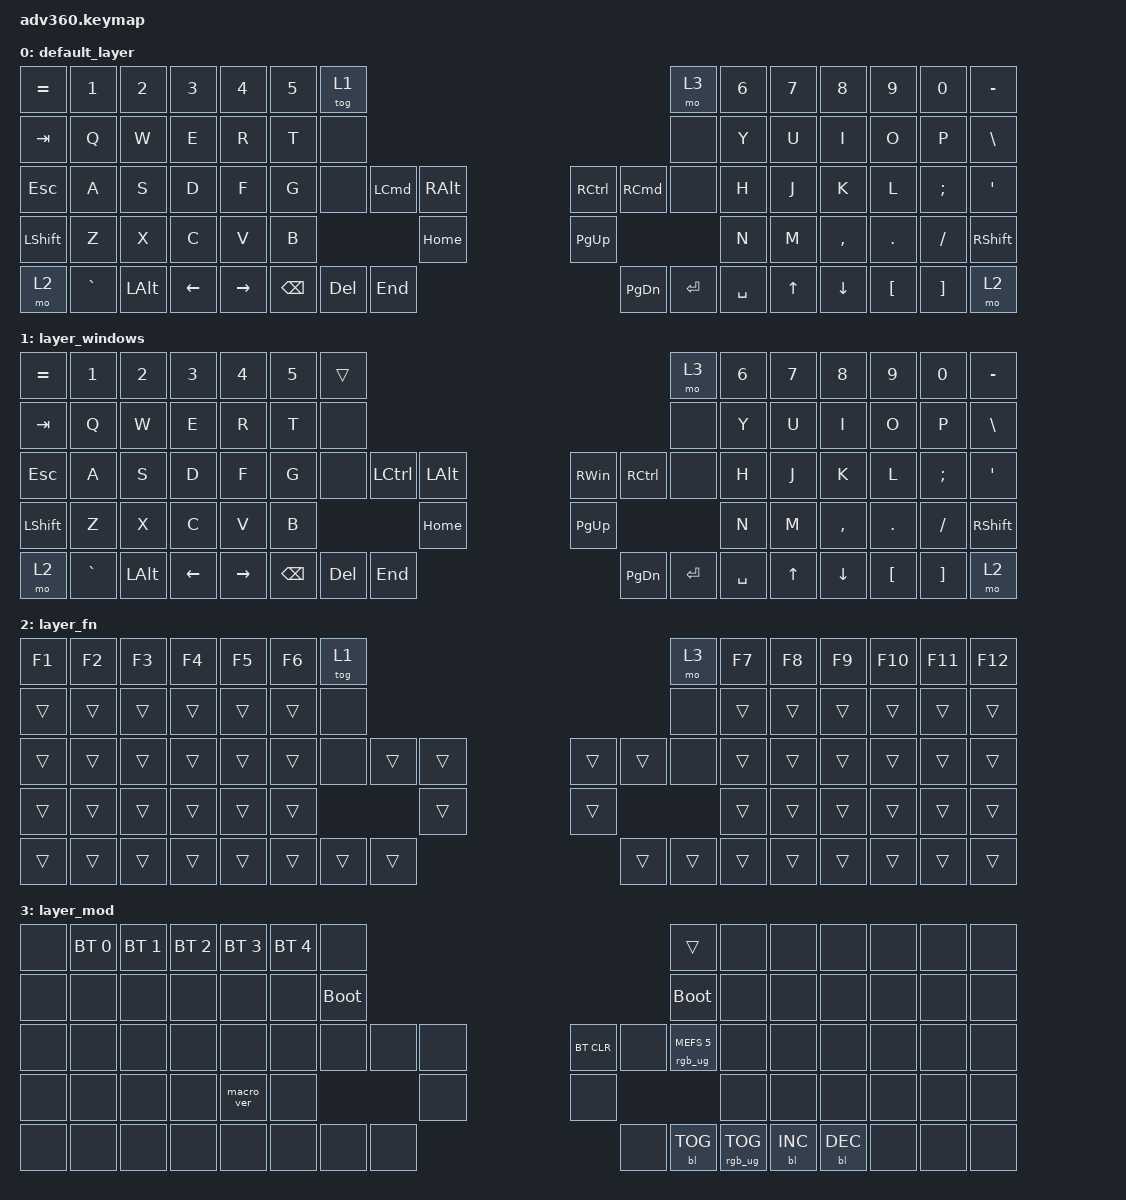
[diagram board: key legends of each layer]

/*
 * Copyright (c) 2020 The ZMK Contributors
 *
 * SPDX-License-Identifier: MIT
 */


/* THIS FILE WAS GENERATED!
 *
 * This file was generated automatically. You may or may not want to
 * edit it directly.
 */

#include <behaviors.dtsi>
#include <dt-bindings/zmk/keys.h>
#include <dt-bindings/zmk/bt.h>
#include <dt-bindings/zmk/rgb.h>
#include <dt-bindings/zmk/backlight.h>

/ {
  behaviors {
    #include "macros.dtsi"
    #include "version.dtsi"

    hm: homerow_mods {
        compatible = "zmk,behavior-hold-tap";
        label = "HOMEROW_MODS";
        #binding-cells = <2>;
        tapping-term-ms = <200>;
        quick_tap_ms = <175>;
        flavor = "tap-preferred";
        bindings = <&kp>, <&kp>;
    };
  };

    keymap {
        compatible = "zmk,keymap";


        default_layer {
            bindings = <
 &kp EQUAL     &kp N1        &kp N2    &kp N3     &kp N4  &kp N5              &tog 1                                                                                             &mo 3  &kp N6  &kp N7     &kp N8    &kp N9    &kp N0  &kp MINUS
   &kp TAB      &kp Q         &kp W     &kp E      &kp R   &kp T               &none                                                                                             &none   &kp Y   &kp U      &kp I     &kp O     &kp P   &kp BSLH
   &kp ESC      &kp A         &kp S     &kp D      &kp F   &kp G               &none  &kp LEFT_COMMAND  &kp RIGHT_ALT                  &kp RIGHT_CONTROL  &kp RIGHT_COMMAND      &none   &kp H   &kp J      &kp K     &kp L  &kp SEMI    &kp SQT
 &kp LSHFT      &kp Z         &kp X     &kp C      &kp V   &kp B                                             &kp HOME                          &kp PG_UP                                 &kp N   &kp M  &kp COMMA   &kp DOT  &kp FSLH  &kp RSHFT
     &mo 2  &kp GRAVE  &kp LEFT_ALT  &kp LEFT  &kp RIGHT                    &kp BSPC           &kp DEL        &kp END                          &kp PG_DN          &kp ENTER  &kp SPACE          &kp UP   &kp DOWN  &kp LBKT  &kp RBKT      &mo 2
            >;
        };

        layer_windows {
            bindings = <
 &kp EQUAL     &kp N1        &kp N2    &kp N3     &kp N4  &kp N5              &trans                                                                     &mo 3  &kp N6  &kp N7     &kp N8            &kp N9     &kp N0  &kp MINUS
   &kp TAB      &kp Q         &kp W     &kp E      &kp R   &kp T               &none                                                                     &none   &kp Y   &kp U      &kp I             &kp O      &kp P   &kp BSLH
   &kp ESC      &kp A         &kp S     &kp D      &kp F   &kp G               &none  &kp LCTRL  &kp LALT                  &kp RIGHT_WIN  &kp RCTRL      &none   &kp H   &kp J      &kp K             &kp L   &kp SEMI    &kp SQT
 &kp LSHFT      &kp Z         &kp X     &kp C      &kp V   &kp B                                 &kp HOME                      &kp PG_UP                         &kp N   &kp M  &kp COMMA        &kp PERIOD  &kp SLASH  &kp RSHFT
     &mo 2  &kp GRAVE  &kp LEFT_ALT  &kp LEFT  &kp RIGHT                    &kp BSPC    &kp DEL   &kp END                      &kp PG_DN  &kp ENTER  &kp SPACE          &kp UP   &kp DOWN  &kp LEFT_BRACKET   &kp RBKT      &mo 2
            >;
        };

        layer_fn {
            bindings = <
 &kp F1  &kp F2  &kp F3  &kp F4  &kp F5  &kp F6            &tog 1                                                   &mo 3  &kp F7  &kp F8  &kp F9  &kp F10  &kp F11  &kp F12
 &trans  &trans  &trans  &trans  &trans  &trans             &none                                                   &none  &trans  &trans  &trans   &trans   &trans   &trans
 &trans  &trans  &trans  &trans  &trans  &trans             &none  &trans  &trans                  &trans  &trans   &none  &trans  &trans  &trans   &trans   &trans   &trans
 &trans  &trans  &trans  &trans  &trans  &trans                            &trans                  &trans                  &trans  &trans  &trans   &trans   &trans   &trans
 &trans  &trans  &trans  &trans  &trans                    &trans  &trans  &trans                  &trans  &trans  &trans          &trans  &trans   &trans   &trans   &trans
            >;
        };

        layer_mod {
            bindings = <
  &none  &bt BT_SEL 0  &bt BT_SEL 1  &bt BT_SEL 2  &bt BT_SEL 3  &bt BT_SEL 4                  &none                                                                          &trans   &none       &none       &none   &none   &none   &none
  &none         &none         &none         &none         &none         &none            &bootloader                                                                     &bootloader   &none       &none       &none   &none   &none   &none
  &none         &none         &none         &none         &none         &none                  &none   &none   &none                  &bt BT_CLR       &none  &rgb_ug RGB_MEFS_CMD 5   &none       &none       &none   &none   &none   &none
  &none         &none         &none         &none    &macro_ver         &none                                  &none                       &none                                       &none       &none       &none   &none   &none   &none
  &none         &none         &none         &none         &none                                &none   &none   &none                       &none  &bl BL_TOG         &rgb_ug RGB_TOG          &bl BL_INC  &bl BL_DEC   &none   &none   &none
            >;
        };

    };
};
